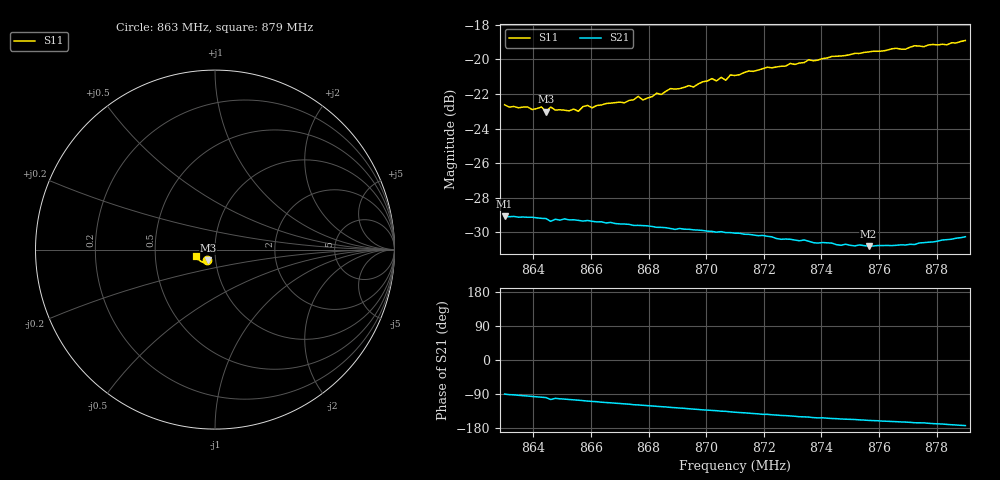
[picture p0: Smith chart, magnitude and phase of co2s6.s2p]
# HZ S RI R 50
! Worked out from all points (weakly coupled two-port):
!   101 points, 863 MHz to 879 MHz, reference 50 ohm
!   highest |S21| = -29.07 dB at 863 MHz (marker M1); lowest = -30.8 dB at 875.64 MHz (marker M2)
!   lowest |S11| = -23.0 dB at 864.44 MHz (marker M3), VSWR 1.15, Z = 45.9 - j5.4 ohm
!   |S11| at or under -10 dB: start of sweep to end of sweep
!   S12 and S22 are empty: the file has one direction only
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8.63e8  -0.044 -0.0594  2e-05 -0.0352  0 0  0 0
8.6396e8  -0.0415 -0.0584  -0.0038 -0.0347  0 0  0 0
8.6428e8  -0.0404 -0.0606  -0.00494 -0.0343  0 0  0 0
8.6444e8  -0.0395 -0.0585  -0.00554 -0.0342  0 0  0 0
8.646e8  -0.0414 -0.0599  -0.00836 -0.033  0 0  0 0
8.6556e8  -0.0375 -0.06  -0.00951 -0.0329  0 0  0 0
8.6572e8  -0.038 -0.0623  -0.0101 -0.0325  0 0  0 0
8.6604e8  -0.0377 -0.0618  -0.0113 -0.0321  0 0  0 0
8.6716e8  -0.0386 -0.0642  -0.0145 -0.0301  0 0  0 0
8.6764e8  -0.0407 -0.0667  -0.0158 -0.0291  0 0  0 0
8.678e8  -0.0397 -0.0652  -0.0163 -0.0288  0 0  0 0
8.6844e8  -0.0415 -0.0674  -0.0179 -0.0273  0 0  0 0
8.6876e8  -0.0431 -0.0701  -0.0186 -0.0265  0 0  0 0
8.6956e8  -0.0454 -0.0697  -0.0205 -0.0247  0 0  0 0
8.702e8  -0.05 -0.0723  -0.0217 -0.0232  0 0  0 0
8.7068e8  -0.0505 -0.0709  -0.0225 -0.0222  0 0  0 0
8.7084e8  -0.0541 -0.0721  -0.023 -0.0216  0 0  0 0
8.71e8  -0.0543 -0.0715  -0.0233 -0.0211  0 0  0 0
8.7372e8  -0.0716 -0.0684  -0.0261 -0.0138  0 0  0 0
8.7564e8  -0.0858 -0.0607  -0.027 -0.0101  0 0  0 0
8.7644e8  -0.0909 -0.0569  -0.0276 -0.00881  0 0  0 0
8.79e8  -0.1073 -0.0367  -0.0305 -0.0037  0 0  0 0
